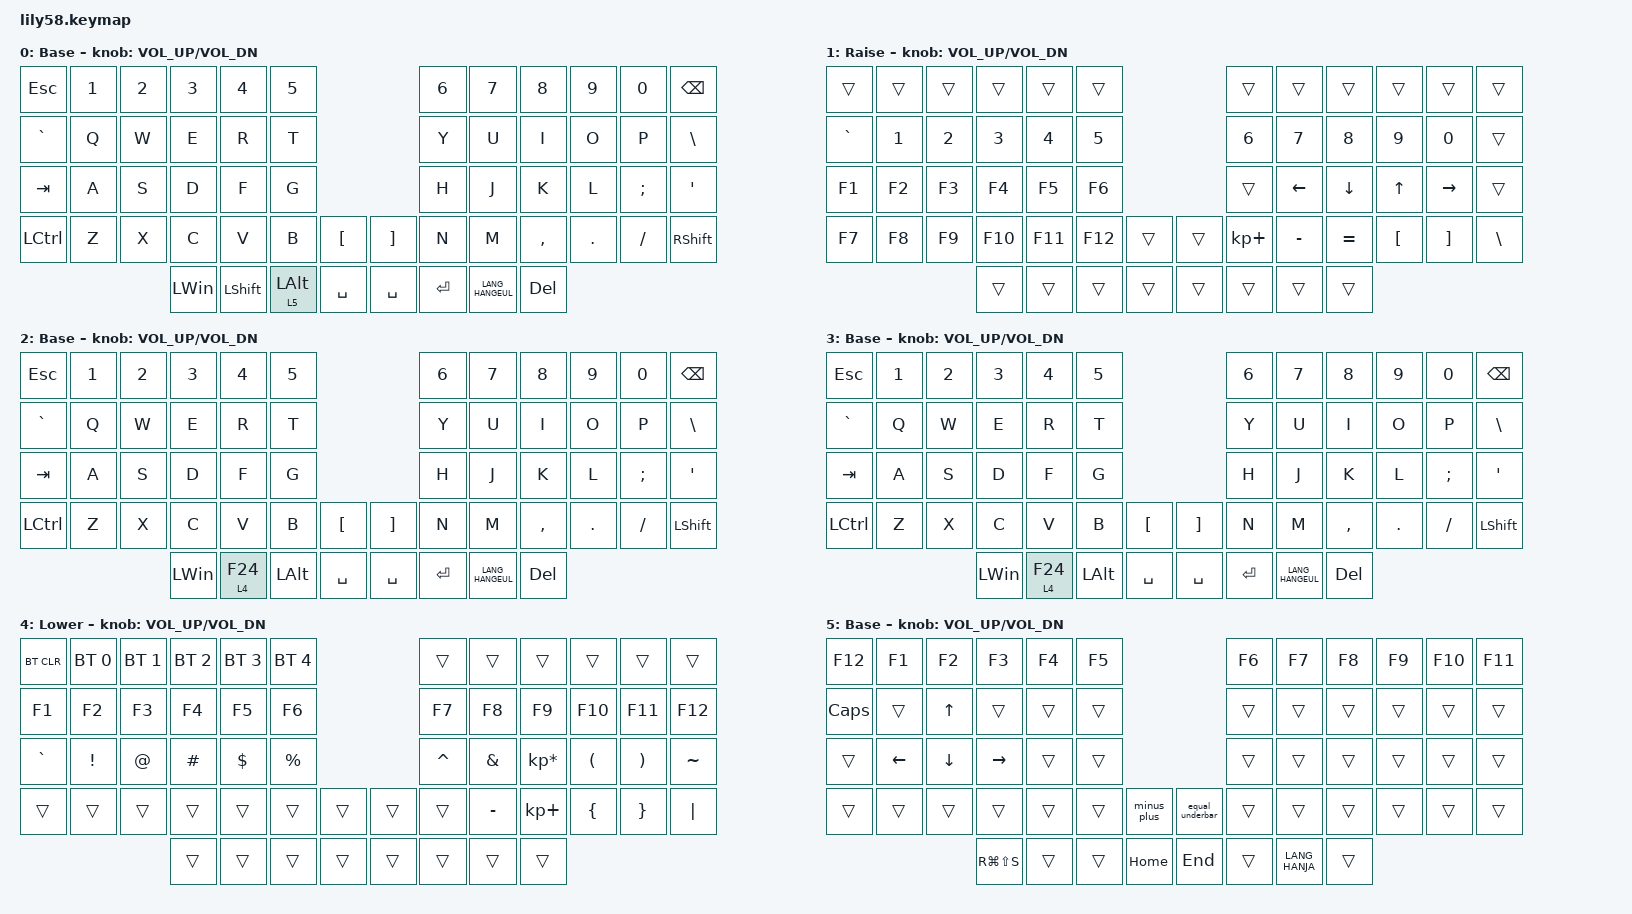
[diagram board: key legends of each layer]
/*
 * Copyright (c) 2020 The ZMK Contributors
 *
 * SPDX-License-Identifier: MIT
 */

#include <behaviors.dtsi>
#include <dt-bindings/zmk/bt.h>
#include <dt-bindings/zmk/keys.h>

/ {
    combos { compatible = "zmk,combos"; };

    behaviors {
        hold_tab_1: hold_tab_1 {
            compatible = "zmk,behavior-hold-tap";
            label = "HOLD_TAB_1";
            bindings = <&mo>, <&kp>;

            #binding-cells = <2>;
            tapping-term-ms = <250>;
            flavor = "balanced";
        };

        minus_plus: minus_plus {
            compatible = "zmk,behavior-tap-dance";
            label = "MINUS_PLUS";
            #binding-cells = <0>;
            bindings = <&kp KP_MINUS>, <&kp KP_PLUS>;

            tapping-term-ms = <250>;
        };

        equal_underbar: equal_underbar {
            compatible = "zmk,behavior-tap-dance";
            label = "EQUAL_UNDERBAR";
            #binding-cells = <0>;
            bindings = <&kp EQUAL>, <&kp UNDERSCORE>;

            tapping-term-ms = <250>;
        };
    };

    macros {
        screenshot: screenshot {
            compatible = "zmk,behavior-macro";
            #binding-cells = <0>;
            bindings = <&kp LEFT_WIN &kp LEFT_SHIFT &kp S>;
            label = "SCREENSHOT";
        };
    };

    keymap {
        compatible = "zmk,keymap";

        default_layer {
            // ------------------------------------------------------------------------------------------------------------
            // |  ESC  |  1  |  2  |  3   |  4   |  5   |                   |  6   |  7    |  8    |  9   |   0   |   `   |
            // |  TAB  |  Q  |  W  |  E   |  R   |  T   |                   |  Y   |  U    |  I    |  O   |   P   |   -   |
            // |  CTRL |  A  |  S  |  D   |  F   |  G   |                   |  H   |  J    |  K    |  L   |   ;   |   '   |
            // | SHIFT |  Z  |  X  |  C   |  V   |  B   |   "["  |  |  "]"  |  N   |  M    |  ,    |  .   |   /   | SHIFT |
            //                     | ALT  | GUI  | LOWER|  SPACE |  | ENTER | RAISE| BSPC  | GUI   |

            display-name = "Base";
            bindings = <
&kp ESC    &kp N1  &kp N2  &kp N3        &kp N4          &kp N5                                                 &kp N6     &kp N7            &kp N8     &kp N9   &kp N0    &kp BACKSPACE
&kp GRAVE  &kp Q   &kp W   &kp E         &kp R           &kp T                                                  &kp Y      &kp U             &kp I      &kp O    &kp P     &kp BACKSLASH
&kp TAB    &kp A   &kp S   &kp D         &kp F           &kp G                                                  &kp H      &kp J             &kp K      &kp L    &kp SEMI  &kp SQT
&kp LCTRL  &kp Z   &kp X   &kp C         &kp V           &kp B                   &kp LEFT_BRACKET    &kp RBKT   &kp N      &kp M             &kp COMMA  &kp DOT  &kp FSLH  &kp RIGHT_SHIFT
                           &kp LEFT_WIN  &kp LEFT_SHIFT  &hold_tab_1 5 LEFT_ALT  &kp SPACE           &kp SPACE  &kp ENTER  &kp LANG_HANGEUL  &kp DEL
            >;

            sensor-bindings = <&inc_dec_kp C_VOL_UP C_VOL_DN>;
        };

        raise_layer {
            // ------------------------------------------------------------------------------------------------------------
            // |       |     |     |      |      |      |                   |      |       |       |      |       |       |
            // |   `   |  1  |  2  |  3   |  4   |  5   |                   |  6   |   7   |   8   |  9   |   0   |       |
            // |   F1  |  F2 |  F3 |  F4  |  F5  |  F6  |                   |      |   <-  |   v   |  ^   |  ->   |       |
            // |   F7  |  F8 |  F9 |  F10 |  F11 |  F12 |        |  |       |  +   |   -   |   =   |  [   |   ]   |   \   |
            //                     |      |      |      |        |  |       |      |       |       |

            display-name = "Raise";
            bindings = <
&trans     &trans  &trans  &trans   &trans   &trans                     &trans       &trans     &trans     &trans    &trans     &trans
&kp GRAVE  &kp N1  &kp N2  &kp N3   &kp N4   &kp N5                     &kp N6       &kp N7     &kp N8     &kp N9    &kp N0     &trans
&kp F1     &kp F2  &kp F3  &kp F4   &kp F5   &kp F6                     &trans       &kp LEFT   &kp DOWN   &kp UP    &kp RIGHT  &trans
&kp F7     &kp F8  &kp F9  &kp F10  &kp F11  &kp F12  &trans    &trans  &kp KP_PLUS  &kp MINUS  &kp EQUAL  &kp LBKT  &kp RBKT   &kp BSLH
                           &trans   &trans   &trans   &trans    &trans  &trans       &trans     &trans
            >;

            sensor-bindings = <&inc_dec_kp C_VOL_UP C_VOL_DN>;
        };

        layer_4 {
            display-name = "Base";
            bindings = <
&kp ESC    &kp N1  &kp N2  &kp N3        &kp N4             &kp N5                                &kp N6     &kp N7            &kp N8     &kp N9   &kp N0    &kp BACKSPACE
&kp GRAVE  &kp Q   &kp W   &kp E         &kp R              &kp T                                 &kp Y      &kp U             &kp I      &kp O    &kp P     &kp BACKSLASH
&kp TAB    &kp A   &kp S   &kp D         &kp F              &kp G                                 &kp H      &kp J             &kp K      &kp L    &kp SEMI  &kp SQT
&kp LCTRL  &kp Z   &kp X   &kp C         &kp V              &kp B         &kp LBKT     &kp RBKT   &kp N      &kp M             &kp COMMA  &kp DOT  &kp FSLH  &kp LEFT_SHIFT
                           &kp LEFT_WIN  &hold_tab_1 4 F24  &kp LEFT_ALT  &kp SPACE    &kp SPACE  &kp ENTER  &kp LANG_HANGEUL  &kp DEL
            >;

            sensor-bindings = <&inc_dec_kp C_VOL_UP C_VOL_DN>;
        };

        layer_5 {
            display-name = "Base";
            bindings = <
&kp ESC    &kp N1  &kp N2  &kp N3        &kp N4             &kp N5                                &kp N6     &kp N7            &kp N8     &kp N9   &kp N0    &kp BACKSPACE
&kp GRAVE  &kp Q   &kp W   &kp E         &kp R              &kp T                                 &kp Y      &kp U             &kp I      &kp O    &kp P     &kp BACKSLASH
&kp TAB    &kp A   &kp S   &kp D         &kp F              &kp G                                 &kp H      &kp J             &kp K      &kp L    &kp SEMI  &kp SQT
&kp LCTRL  &kp Z   &kp X   &kp C         &kp V              &kp B         &kp LBKT     &kp RBKT   &kp N      &kp M             &kp COMMA  &kp DOT  &kp FSLH  &kp LEFT_SHIFT
                           &kp LEFT_WIN  &hold_tab_1 4 F24  &kp LEFT_ALT  &kp SPACE    &kp SPACE  &kp ENTER  &kp LANG_HANGEUL  &kp DEL
            >;

            sensor-bindings = <&inc_dec_kp C_VOL_UP C_VOL_DN>;
        };

        lower_layer {
            // ------------------------------------------------------------------------------------------------------------
            // | BTCLR | BT1 | BT2 |  BT3 |  BT4 |  BT5 |                   |      |       |       |      |       |       |
            // |  F1   |  F2 |  F3 |  F4  |  F5  |  F6  |                   |  F7  |  F8   |  F9   |  F10 |  F11  |  F12  |
            // |   `   |  !  |  @  |  #   |  $   |  %   |                   |  ^   |  &    |  *    |  (   |   )   |   ~   |
            // |       |     |     |      |      |      |        |  |       |      |  _    |  +    |  {   |   }   |  "|"  |
            //                     |      |      |      |        |  |       |      |       |       |

            display-name = "Lower";
            bindings = <
&bt BT_CLR  &bt BT_SEL 0  &bt BT_SEL 1  &bt BT_SEL 2  &bt BT_SEL 3  &bt BT_SEL 4                    &trans     &trans     &trans           &trans    &trans    &trans
&kp F1      &kp F2        &kp F3        &kp F4        &kp F5        &kp F6                          &kp F7     &kp F8     &kp F9           &kp F10   &kp F11   &kp F12
&kp GRAVE   &kp EXCL      &kp AT        &kp HASH      &kp DOLLAR    &kp PRCNT                       &kp CARET  &kp AMPS   &kp KP_MULTIPLY  &kp LPAR  &kp RPAR  &kp TILDE
&trans      &trans        &trans        &trans        &trans        &trans        &trans    &trans  &trans     &kp MINUS  &kp KP_PLUS      &kp LBRC  &kp RBRC  &kp PIPE
                                        &trans        &trans        &trans        &trans    &trans  &trans     &trans     &trans
            >;

            sensor-bindings = <&inc_dec_kp C_VOL_UP C_VOL_DN>;
        };

        pop {
            display-name = "Base";
            bindings = <
&kp F12       &kp F1          &kp F2          &kp F3           &kp F4  &kp F5                                  &kp F6  &kp F7          &kp F8  &kp F9  &kp F10  &kp F11
&kp CAPSLOCK  &trans          &kp UP_ARROW    &trans           &trans  &trans                                  &trans  &trans          &trans  &trans  &trans   &trans
&trans        &kp LEFT_ARROW  &kp DOWN_ARROW  &kp RIGHT_ARROW  &trans  &trans                                  &trans  &trans          &trans  &trans  &trans   &trans
&trans        &trans          &trans          &trans           &trans  &trans  &minus_plus    &equal_underbar  &trans  &trans          &trans  &trans  &trans   &trans
                                              &kp RG(LS(S))    &trans  &trans  &kp HOME       &kp END          &trans  &kp LANG_HANJA  &trans
            >;

            sensor-bindings = <&inc_dec_kp C_VOL_UP C_VOL_DN>;
            label = "pop";
        };
    };
};
